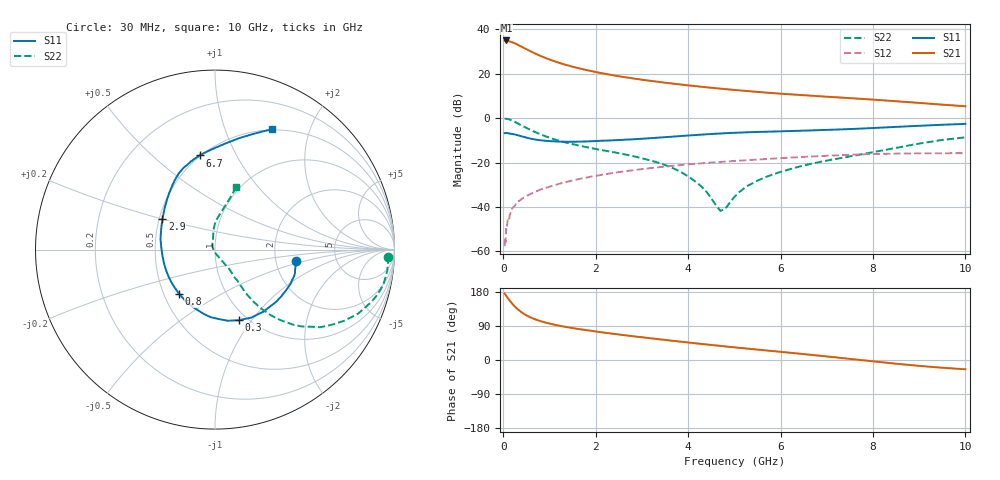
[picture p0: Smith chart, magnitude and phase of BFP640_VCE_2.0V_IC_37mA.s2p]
! Infineon Technologies  Discrete & RF Semiconductors
! BFP640
! VCE =  2.0 V,  IC =  37 mA
! Common Emitter S-Parameters:  Apr 2013
# GHz  S  MA  R  50
!  f  S11  S21  S12  S22
! GHz  MAG  ANG  MAG  ANG  MAG  ANG  MAG  ANG
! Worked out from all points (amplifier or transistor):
!   99 points, 30 MHz to 10 GHz, reference 50 ohm
!   highest |S21| = 35.0 dB at 70 MHz (marker M1)
!   |S21| within 3 dB of that: start of sweep to 414.7 MHz
!   unconditionally stable (mu >= 1): 1.924 GHz to end of sweep
!   at 350 MHz: K = 0.42, MSG = 35.0 dB, |S12| = -37.3 dB
!   at 3.5 GHz: K = 1.06, MAG = 17.4 dB, |S12| = -21.8 dB
!   at 10 GHz: K = 1.07, MAG = 9.0 dB, |S12| = -15.8 dB
!   S11 on the Smith chart (normalised r, x): 30 MHz: 2.60, -0.44; 300 MHz: 0.91, -0.87; 800 MHz: 0.60, -0.33; 2.9 GHz: 0.52, +0.20; 6.7 GHz: 0.49, +0.72; 10 GHz: 0.49, +1.47
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0.03  0.4579 -8.3  55.13 175.2  0.0013 78.6  0.9644 -2.3
0.05  0.4596 -13.9  56.14 172.0  0.0016 47.8  0.9654 -5.5
0.07  0.4649 -19.0  56.44 168.4  0.003 85.7  0.965 -8.0
0.12  0.4532 -32.8  54.22 159.9  0.0058 80.9  0.9419 -14.8
0.2  0.4385 -52.0  51.02 147.8  0.0094 74.3  0.8745 -24.0
0.25  0.4293 -61.9  48.83 141.3  0.0105 71.0  0.8252 -28.6
0.3  0.4154 -71.3  46.02 135.3  0.0128 71.0  0.7746 -32.7
0.4  0.387 -87.1  40.73 125.6  0.015 67.4  0.6794 -39.2
0.5  0.3641 -99.8  35.91 118.0  0.0176 65.3  0.6028 -43.9
0.6  0.3438 -110.5  31.86 111.9  0.0198 64.2  0.5353 -47.2
0.8  0.3178 -128.9  25.44 102.8  0.0244 63.4  0.4342 -51.3
1  0.3038 -143.3  21.02 96.2  0.0284 62.5  0.363 -53.5
1.2  0.2964 -155.4  17.81 90.8  0.0329 61.7  0.3119 -54.5
1.7  0.2961 -177.5  12.84 80.5  0.0438 59.0  0.2338 -54.4
2.2  0.3111 166.9  10 72.0  0.0543 56.0  0.185 -54.8
2.9  0.3385 149.8  7.621 61.4  0.0689 50.7  0.1325 -53.7
3.4  0.3666 139.5  6.499 54.4  0.0789 46.5  0.0953 -56.4
4.7  0.4505 119.2  4.628 37.2  0.1032 34.7  0.0081 -142.8
5.1  0.4725 114.7  4.237 32.2  0.11 31.3  0.0212 129.7
6.7  0.5313 99.2  3.191 13.1  0.1372 17.0  0.0953 95.1
8.5  0.6351 77.8  2.407 -9.8  0.1589 -1.4  0.2137 80.4
10  0.7423 64.6  1.856 -24.5  0.1626 -13.3  0.3692 71.5
